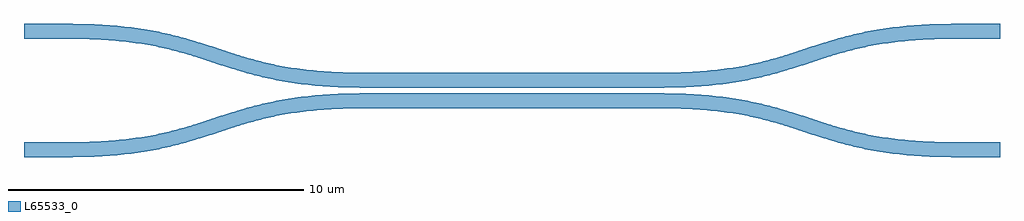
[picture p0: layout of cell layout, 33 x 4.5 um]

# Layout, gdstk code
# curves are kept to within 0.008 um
import gdstk
lib = gdstk.Library(unit=1e-6, precision=1e-09)
def R(c, l, rs):  # rectangles x0, y0, x1, y1
    for r in rs: c.add(gdstk.rectangle(r[:2], r[2:], *l))
def P(c, l, *ps):  # polygons
    for p in ps: c.add(gdstk.Polygon(p, *l))
L65533_0 = (65533, 0)

layout = lib.new_cell('layout')
R(layout, L65533_0, [(-11.5,-1.9,-10,-1.4), (20,-1.9,21.5,-1.4), (-11.5,2.1,-10,2.6), (20,2.1,21.5,2.6)])
P(layout, L65533_0, [(-10,-1.9),(-10,-1.4),(-9.281,-1.388),(-8.633,-1.353),(-8.048,-1.298),(-7.417,-1.209),(-6.85,-1.099),(-6.25,-0.951),(-5.692,-0.787),(-4.051,-0.264),(-3.532,-0.126),(-3.066,-0.022),(-2.346,0.101),(-1.653,0.181),(-1.011,0.226),(-0.303,0.248),(10,0.25),(10.875,0.232),(11.653,0.181),(12.561,0.069),(13.066,-0.022),(13.532,-0.126),(14.377,-0.361),(16.087,-0.905),(16.673,-1.059),(17.222,-1.174),(18.048,-1.298),(18.633,-1.353),(19.281,-1.388),(20,-1.4),(20,-1.9),(18.989,-1.876),(18.347,-1.831),(17.877,-1.781),(17.131,-1.666),(16.379,-1.502),(15.623,-1.289),(14.073,-0.791),(13.5,-0.633),(13.15,-0.551),(12.681,-0.458),(12.276,-0.394),(11.725,-0.328),(11.115,-0.281),(10.44,-0.254),(10,-0.25),(-0.44,-0.254),(-1.115,-0.281),(-1.839,-0.34),(-2.38,-0.409),(-3.059,-0.531),(-3.5,-0.633),(-4.073,-0.791),(-5.543,-1.264),(-6.033,-1.41),(-6.65,-1.567),(-7.335,-1.702),(-7.877,-1.781),(-8.596,-1.851),(-9.405,-1.892)],
  [(0,0.45),(-0.595,0.458),(-1.404,0.499),(-2.123,0.569),(-2.665,0.648),(-3.35,0.783),(-3.967,0.94),(-4.457,1.086),(-5.927,1.559),(-6.5,1.717),(-7.033,1.838),(-7.724,1.956),(-8.392,2.033),(-9.281,2.088),(-10,2.1),(-10,2.6),(-9.405,2.592),(-8.596,2.551),(-7.877,2.481),(-7.335,2.402),(-6.65,2.267),(-6.033,2.11),(-5.543,1.964),(-4.073,1.491),(-3.5,1.333),(-2.967,1.212),(-2.276,1.094),(-1.608,1.017),(-0.719,0.962),(0,0.95),(10,0.95),(10.719,0.962),(11.367,0.997),(11.952,1.052),(12.38,1.109),(12.967,1.212),(13.327,1.291),(14.073,1.491),(15.543,1.964),(16.033,2.11),(16.65,2.267),(17.131,2.366),(17.764,2.466),(18.347,2.531),(19.125,2.582),(20,2.6),(20,2.1),(19.281,2.088),(18.392,2.033),(17.724,1.956),(17.033,1.838),(16.5,1.717),(15.927,1.559),(14.377,1.061),(13.621,0.848),(12.768,0.666),(11.892,0.543),(11.011,0.474),(10.303,0.452)])

lib.write_gds('layout.gds')
